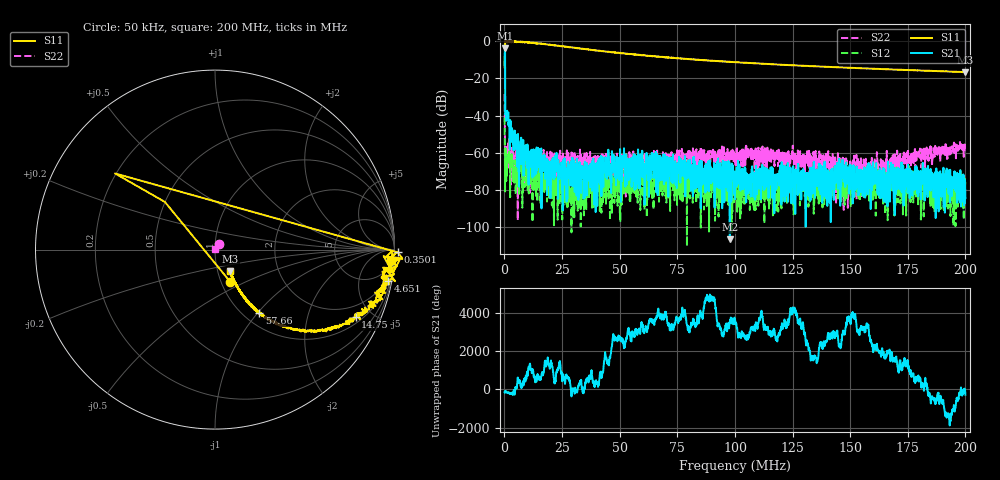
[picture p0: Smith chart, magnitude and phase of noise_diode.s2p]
! 23-Mar-26 11:50:50 AM
! E:\UPDATEDVNAMEASUREMENTS\CAL_S11S\NOISE_DIODE.S2P
! CHANNEL.1
! TR.MEASUREMENT
! CORRECTED.DATA
# GHZ S RI R 50.0
! FREQ.GHZ  S11RE  S11IM  S21RE  S21IM  S12RE  S12IM  S22RE  S22IM
!; PortSelection: Port_12
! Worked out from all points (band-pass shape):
!   2000 points, 50 kHz to 200 MHz, reference 50 ohm
!   highest |S21| = -3.73 dB at 250 kHz (marker M1); lowest = -106.3 dB at 97.77 MHz (marker M2)
!   |S21| within 3 dB of the highest: 121.5 kHz to 258.6 kHz (137.2 kHz wide, 72.2 % of centre)
!   lowest |S11| = -16.6 dB at 200 MHz (marker M3), VSWR 1.35, Z = 57.3 - j14.2 ohm
!   |S11| at or under -10 dB: start of sweep to 120.3 kHz; 83.66659 MHz to 83.68532 MHz (18.73 kHz wide, 0.0224 % of centre); 84.54 MHz to end of sweep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
!   |S22| runs from -96.2 to -28.4 dB; largest |S21 - S12| = 0.65
!   S11 on the Smith chart (normalised r, x): 50 kHz: 1.10, -0.41; 350.1 kHz: -65, -56; 4.651 MHz: 1, -11; 14.75 MHz: 1.30, -3.99; 57.66 MHz: 1.18, -1.02; 200 MHz: 1.15, -0.28
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5e-05  0.0847 -0.1791  -0.1949 -0.1322  0.00644 0.00617  0.0197 0.0324
0.00025005  -0.557 0.4243  -0.4825 -0.4363  -8.9e-05 -2.56e-05  0.000108 -0.00142
0.000350075  1.018 -0.0154  0.00269 -0.0113  -0.0013 0.000339  -0.00131 0.000496
0.001350325  0.9796 -0.1103  -0.0115 -0.00287  -0.000681 4.1e-06  0.000597 -0.00055
0.004651151  0.9648 -0.177  0.00216 -0.000267  0.000142 0.000124  0.000295 0.000414
0.006351576  0.951 -0.215  -0.000107 6.51e-05  -2.36e-05 6.76e-05  0.000566 0.000427
0.009552376  0.9029 -0.2963  -2.77e-05 -0.000691  -0.000256 0.000405  0.000277 0.000201
0.01475368  0.7832 -0.3766  -0.000432 0.000113  5.9e-06 -0.000141  0.000573 0.000779
0.01935483  0.6775 -0.4264  -0.000167 -8.16e-05  -4.1e-06 0.000232  0.000469 0.000568
0.03345835  0.4456 -0.4429  -0.00019 -0.000136  3.45e-05 -7.73e-05  9.56e-05 0.00051
0.05106276  0.2872 -0.3819  0.000799 -0.000255  -1.8e-06 9.1e-05  -5e-07 0.000247
0.05766441  0.2479 -0.3519  0.000572 5.15e-05  5.01e-05 -0.000116  0.00059 0.000556
0.06476618  0.2205 -0.3287  0.000107 -0.000184  1.5e-06 -7.87e-05  0.000324 0.00055
0.06676668  0.2158 -0.3218  0.000113 -0.000389  -0.000136 6.14e-05  0.00048 0.000163
0.09777444  0.147 -0.2383  -5e-07 -4.8e-06  4e-06 -5.8e-06  0.000457 0.000693
0.100075  0.1406 -0.2354  0.000176 7.2e-05  8.44e-05 -3.3e-06  0.000417 0.000513
0.1333833  0.111 -0.1827  -5.25e-05 -0.000202  -3.86e-05 -4.17e-05  -0.000193 0.000625
0.1496874  0.1018 -0.1651  0.000292 -0.000213  4e-06 -0.000104  0.000109 0.000291
0.1545886  0.0997 -0.1592  1.75e-05 -8.95e-05  0.000183 -0.000153  0.00014 -0.000128
0.1666917  0.0942 -0.1489  -0.000259 6.37e-05  -0.00014 7.25e-05  0.000253 -2.92e-05
0.1740935  0.0906 -0.142  -0.000158 -0.000109  9.96e-05 -1.35e-05  0.000624 -0.000399
0.2  0.0845 -0.1211  8.3e-06 6.07e-05  8.3e-06 -0.000167  0.00131 0.000779
